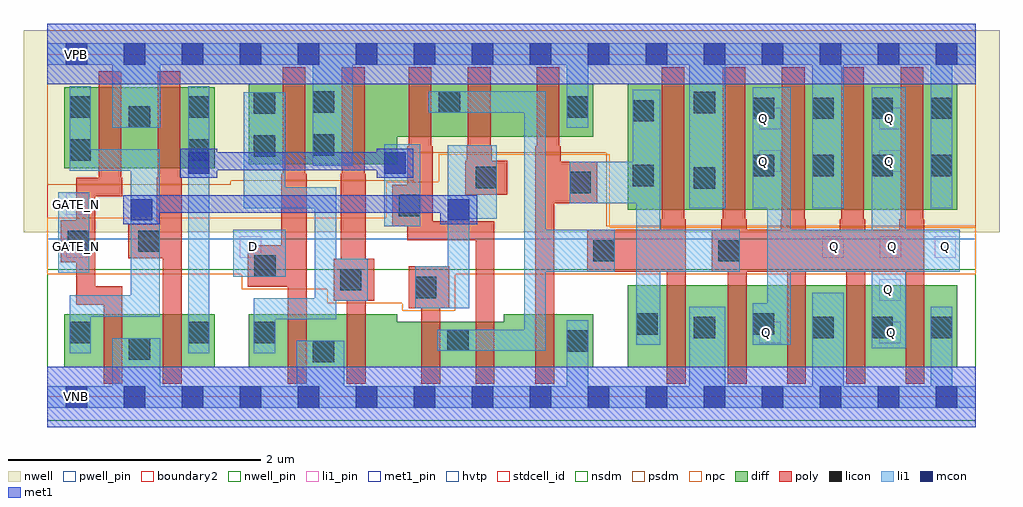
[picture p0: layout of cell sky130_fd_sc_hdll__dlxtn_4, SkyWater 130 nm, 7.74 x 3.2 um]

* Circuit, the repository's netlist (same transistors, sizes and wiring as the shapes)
* Copyright 2020 The SkyWater PDK Authors
*
* Licensed under the Apache License, Version 2.0 (the "License");
* you may not use this file except in compliance with the License.
* You may obtain a copy of the License at
*
*     https://www.apache.org/licenses/LICENSE-2.0
*
* Unless required by applicable law or agreed to in writing, software
* distributed under the License is distributed on an "AS IS" BASIS,
* WITHOUT WARRANTIES OR CONDITIONS OF ANY KIND, either express or implied.
* See the License for the specific language governing permissions and
* limitations under the License.
*
* SPDX-License-Identifier: Apache-2.0

.SUBCKT sky130_fd_sc_hdll__dlxtn_4 D GATE_N VGND VNB VPB VPWR Q
*.PININFO D:I GATE_N:I VGND:I VNB:I VPB:I VPWR:I Q:O
MI635 clkneg clkpos VPWR VPB sky130_fd_pr__pfet_01v8_hvt m=1 w=0.64U l=0.18U mult=1
+ sa=0.265 sb=0.265 sd=0.28 area=0.063 perim=1.14
MI17 M0 clkneg net51 VPB sky130_fd_pr__pfet_01v8_hvt m=1 w=0.42U l=0.18U mult=1
+ sa=0.265 sb=0.265 sd=0.28 area=0.063 perim=1.14
MI650 Q m1 VPWR VPB sky130_fd_pr__pfet_01v8_hvt m=4 w=1.0U l=0.18U mult=1 sa=0.265
+ sb=0.265 sd=0.28 area=0.063 perim=1.14
MI633 clkpos GATE_N VPWR VPB sky130_fd_pr__pfet_01v8_hvt m=1 w=0.64U l=0.18U mult=1
+ sa=0.265 sb=0.265 sd=0.28 area=0.063 perim=1.14
MI18 net51 db VPWR VPB sky130_fd_pr__pfet_01v8_hvt m=1 w=0.64U l=0.18U mult=1 sa=0.265
+ sb=0.265 sd=0.28 area=0.063 perim=1.14
MI653 net47 m1 VPWR VPB sky130_fd_pr__pfet_01v8_hvt m=1 w=0.42U l=0.18U mult=1
+ sa=0.265 sb=0.265 sd=0.28 area=0.063 perim=1.14
MI651 M0 clkpos net47 VPB sky130_fd_pr__pfet_01v8_hvt m=1 w=0.42U l=0.18U mult=1
+ sa=0.265 sb=0.265 sd=0.28 area=0.063 perim=1.14
MI655 m1 M0 VPWR VPB sky130_fd_pr__pfet_01v8_hvt m=1 w=1.0U l=0.18U mult=1 sa=0.265
+ sb=0.265 sd=0.28 area=0.063 perim=1.14
MI638 db D VPWR VPB sky130_fd_pr__pfet_01v8_hvt m=1 w=0.64U l=0.18U mult=1 sa=0.265
+ sb=0.265 sd=0.28 area=0.063 perim=1.14
MI634 clkpos GATE_N VGND VNB sky130_fd_pr__nfet_01v8 m=1 w=0.42U l=0.15U mult=1
+ sa=0.265 sb=0.265 sd=0.28 area=0.063 perim=1.14
MI649 Q m1 VGND VNB sky130_fd_pr__nfet_01v8 m=4 w=0.65U l=0.15U mult=1 sa=0.265
+ sb=0.265 sd=0.28 area=0.063 perim=1.14
MI652 M0 clkneg net94 VNB sky130_fd_pr__nfet_01v8 m=1 w=0.36U l=0.15U mult=1 sa=0.265
+ sb=0.265 sd=0.28 area=0.063 perim=1.14
MI654 net94 m1 VGND VNB sky130_fd_pr__nfet_01v8 m=1 w=0.42U l=0.15U mult=1 sa=0.265
+ sb=0.265 sd=0.28 area=0.063 perim=1.14
MI656 m1 M0 VGND VNB sky130_fd_pr__nfet_01v8 m=1 w=0.65U l=0.15U mult=1 sa=0.265
+ sb=0.265 sd=0.28 area=0.063 perim=1.14
MI636 clkneg clkpos VGND VNB sky130_fd_pr__nfet_01v8 m=1 w=0.42U l=0.15U mult=1
+ sa=0.265 sb=0.265 sd=0.28 area=0.063 perim=1.14
MI637 db D VGND VNB sky130_fd_pr__nfet_01v8 m=1 w=0.42U l=0.15U mult=1 sa=0.265
+ sb=0.265 sd=0.28 area=0.063 perim=1.14
MI19 M0 clkpos net74 VNB sky130_fd_pr__nfet_01v8 m=1 w=0.36U l=0.15U mult=1 sa=0.265
+ sb=0.265 sd=0.28 area=0.063 perim=1.14
MI20 net74 db VGND VNB sky130_fd_pr__nfet_01v8 m=1 w=0.42U l=0.15U mult=1 sa=0.265
+ sb=0.265 sd=0.28 area=0.063 perim=1.14
.ENDS sky130_fd_sc_hdll__dlxtn_4

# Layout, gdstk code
import gdstk
lib = gdstk.Library(unit=1e-6, precision=1e-09)
def R(c, l, rs):  # rectangles x0, y0, x1, y1
    for r in rs: c.add(gdstk.rectangle(r[:2], r[2:], *l))
def A(c, l, x, y, w, h, nx, ny, dx, dy):  # array of equal rectangles
    R(c, l, [(x+i*dx, y+j*dy, x+i*dx+w, y+j*dy+h) for i in range(nx) for j in range(ny)])
def P(c, l, *ps):  # polygons
    for p in ps: c.add(gdstk.Polygon(p, *l))
nwell_pin = (64, 16)
nwell = (64, 20)
diff = (65, 20)
poly = (66, 20)
licon = (66, 44)
li1_pin = (67, 16)
li1 = (67, 20)
mcon = (67, 44)
met1_pin = (68, 16)
met1 = (68, 20)
hvtp = (78, 44)
stdcell_id = (81, 4)
nsdm = (93, 44)
psdm = (94, 20)
npc = (95, 20)
pwell_pin = (122, 16)
boundary2 = (236, 0)

sky130_fd_sc_hdll__dlxtn = lib.new_cell('sky130_fd_sc_hdll__dlxtn_4')
R(sky130_fd_sc_hdll__dlxtn, nwell_pin, [(0.145,2.635,0.315,2.805)])
R(sky130_fd_sc_hdll__dlxtn, nwell, [(-0.19,1.305,7.55,2.91)])
R(sky130_fd_sc_hdll__dlxtn, diff, [(0.135,0.235,1.325,0.655), (4.6,0.235,7.215,0.885), (4.6,1.485,7.215,2.485), (0.135,1.815,1.325,2.455)])
P(sky130_fd_sc_hdll__dlxtn, diff, [(4.33,0.655),(3.62,0.655),(3.62,0.595),(2.775,0.595),(2.775,0.655),(1.595,0.655),(1.595,0.235),(4.33,0.235)],
  [(4.33,2.485),(1.595,2.485),(1.595,1.845),(2.775,1.845),(2.775,2.065),(4.33,2.065)])
P(sky130_fd_sc_hdll__dlxtn, poly, [(0.595,1.74),(0.585,1.74),(0.585,2.585),(0.405,2.585),(0.405,1.74),(0.23,1.74),(0.23,1.4),(0.105,1.4),(0.105,1.07),(0.23,1.07),(0.23,0.73),(0.445,0.73),(0.445,0.105),(0.595,0.105),(0.595,0.88),(0.38,0.88),(0.38,1.59),(0.595,1.59)],
  [(1.065,1.74),(1.055,1.74),(1.055,2.585),(0.875,2.585),(0.875,1.74),(0.865,1.74),(0.865,1.37),(0.64,1.37),(0.64,1.1),(0.915,1.1),(0.915,0.105),(1.065,0.105)],
  [(2.055,1.77),(2.045,1.77),(2.045,2.615),(1.865,2.615),(1.865,1.77),(1.855,1.77),(1.855,1.205),(1.59,1.205),(1.59,0.875),(1.905,0.875),(1.905,0.105),(2.055,0.105)],
  [(2.59,1.095),(2.525,1.095),(2.525,1.77),(2.515,1.77),(2.515,2.615),(2.335,2.615),(2.335,1.77),(2.325,1.77),(2.325,1.095),(2.27,1.095),(2.27,0.765),(2.375,0.765),(2.375,0.105),(2.525,0.105),(2.525,0.765),(2.59,0.765)],
  [(3.185,1.035),(2.865,1.035),(2.865,0.705),(2.965,0.705),(2.965,0.105),(3.115,0.105),(3.115,0.705),(3.185,0.705)],
  [(3.545,1.395),(3.055,1.395),(3.055,1.99),(3.045,1.99),(3.045,2.615),(2.865,2.615),(2.865,1.99),(2.855,1.99),(2.855,1.685),(2.735,1.685),(2.735,1.355),(2.855,1.355),(2.855,1.245),(3.395,1.245),(3.395,0.105),(3.545,0.105)],
  [(3.645,1.875),(3.525,1.875),(3.525,1.99),(3.515,1.99),(3.515,2.615),(3.335,2.615),(3.335,1.99),(3.325,1.99),(3.325,1.875),(3.315,1.875),(3.315,1.605),(3.645,1.605)],
  [(4.36,1.865),(4.07,1.865),(4.07,1.99),(4.06,1.99),(4.06,2.615),(3.88,2.615),(3.88,1.99),(3.87,1.99),(3.87,0.105),(4.02,0.105),(4.02,1.535),(4.36,1.535)],
  [(5.06,1.41),(5.05,1.41),(5.05,2.615),(4.87,2.615),(4.87,1.41),(4.86,1.41),(4.86,1.325),(4.28,1.325),(4.28,0.995),(4.91,0.995),(4.91,0.105),(5.06,0.105)],
  [(6.955,1.41),(6.945,1.41),(6.945,2.615),(6.765,2.615),(6.765,1.41),(6.755,1.41),(6.755,1.325),(6.485,1.325),(6.485,1.41),(6.475,1.41),(6.475,2.615),(6.295,2.615),(6.295,1.41),(6.285,1.41),(6.285,1.325),(6.015,1.325),(6.015,1.41),(6.005,1.41),(6.005,2.615),(5.825,2.615),(5.825,1.41),(5.815,1.41),(5.815,1.325),(5.545,1.325),(5.545,1.41),(5.535,1.41),(5.535,2.615),(5.355,2.615),(5.355,1.41),(5.345,1.41),(5.345,1.325),(5.27,1.325),(5.27,0.995),(5.395,0.995),(5.395,0.105),(5.545,0.105),(5.545,0.995),(5.865,0.995),(5.865,0.105),(6.015,0.105),(6.015,0.995),(6.335,0.995),(6.335,0.105),(6.485,0.105),(6.485,0.995),(6.805,0.995),(6.805,0.105),(6.955,0.105)])
A(sky130_fd_sc_hdll__dlxtn, licon, 6.065, 0.465, 0.17, 0.17, 3, 1, 0.47, 0)
A(sky130_fd_sc_hdll__dlxtn, licon, 5.595, 1.75, 0.17, 0.17, 4, 2, 0.47, 0.455)
R(sky130_fd_sc_hdll__dlxtn, licon, [(2.105,0.275,2.275,0.445), (0.645,0.295,0.815,0.465), (4.12,0.36,4.29,0.53), (3.17,0.365,3.34,0.535), (0.175,0.425,0.345,0.595), (1.115,0.425,1.285,0.595), (1.635,0.425,1.805,0.595), (5.125,0.465,5.295,0.635), (4.67,0.495,4.84,0.665), (5.595,0.495,5.765,0.665), (2.915,0.785,3.085,0.955), (2.32,0.845,2.49,1.015), (1.64,0.955,1.81,1.125), (4.33,1.075,4.5,1.245), (5.32,1.075,5.49,1.245), (0.16,1.15,0.33,1.32), (0.72,1.15,0.89,1.32), (2.785,1.435,2.955,1.605), (4.14,1.615,4.31,1.785), (5.125,1.65,5.295,1.82), (3.395,1.655,3.565,1.825), (4.64,1.67,4.81,1.84), (0.175,1.875,0.345,2.045), (1.115,1.875,1.285,2.045), (1.635,1.905,1.805,2.075), (2.105,1.915,2.275,2.085), (0.645,2.135,0.815,2.305), (4.64,2.185,4.81,2.355), (0.175,2.215,0.345,2.385), (1.115,2.215,1.285,2.385), (4.12,2.215,4.29,2.385), (1.635,2.245,1.805,2.415), (5.125,2.25,5.295,2.42), (2.105,2.255,2.275,2.425), (3.105,2.255,3.275,2.425)])
R(sky130_fd_sc_hdll__dlxtn, li1_pin, [(5.645,0.425,5.815,0.595), (6.595,0.425,6.765,0.595), (6.595,0.765,6.765,0.935), (0.15,1.105,0.32,1.275), (1.525,1.105,1.695,1.275), (6.145,1.105,6.315,1.275), (6.6,1.105,6.77,1.275), (7.035,1.105,7.205,1.275), (0.15,1.445,0.32,1.615), (5.645,1.785,5.815,1.955), (6.595,1.785,6.765,1.955), (5.645,2.125,5.815,2.295), (6.595,2.125,6.765,2.295)])
R(sky130_fd_sc_hdll__dlxtn, li1, [(1.115,0.345,1.285,2.465), (1.475,0.955,1.89,1.325), (0.085,0.985,0.33,1.625), (2.67,1.355,2.955,2.005)])
P(sky130_fd_sc_hdll__dlxtn, li1, [(7.36,0.085),(7.175,0.085),(7.175,0.715),(7.005,0.715),(7.005,0.085),(6.315,0.085),(6.315,0.825),(6.065,0.825),(6.065,0.085),(5.375,0.085),(5.375,0.715),(5.09,0.715),(5.09,0.085),(4.29,0.085),(4.29,0.61),(4.12,0.61),(4.12,0.085),(2.355,0.085),(2.355,0.445),(1.975,0.445),(1.975,0.085),(0.895,0.085),(0.895,0.465),(0.515,0.465),(0.515,0.085),(0,0.085),(0,-0.085),(7.36,-0.085)],
  [(7.36,2.805),(0,2.805),(0,2.635),(0.515,2.635),(0.515,2.135),(0.895,2.135),(0.895,2.635),(2.105,2.635),(2.105,1.835),(2.42,1.835),(2.42,2.635),(4.12,2.635),(4.12,2.135),(4.29,2.135),(4.29,2.635),(5.09,2.635),(5.09,1.495),(5.375,1.495),(5.375,2.635),(6.065,2.635),(6.065,1.495),(6.315,1.495),(6.315,2.635),(7.005,2.635),(7.005,1.495),(7.175,1.495),(7.175,2.635),(7.36,2.635)],
  [(7.235,1.325),(6.805,1.325),(6.805,2.455),(6.535,2.455),(6.535,1.325),(5.895,1.325),(5.895,2.455),(5.595,2.455),(5.595,1.495),(5.71,1.495),(5.71,0.745),(5.595,0.745),(5.595,0.415),(5.895,0.415),(5.895,0.995),(6.535,0.995),(6.535,0.385),(6.805,0.385),(6.805,0.995),(7.235,0.995)],
  [(5.49,1.325),(4.86,1.325),(4.86,2.435),(4.64,2.435),(4.64,1.865),(4.14,1.865),(4.14,1.535),(4.67,1.535),(4.67,0.415),(4.86,0.415),(4.86,0.995),(5.49,0.995)],
  [(4.5,1.325),(3.95,1.325),(3.95,2.425),(3.025,2.425),(3.025,2.255),(3.78,2.255),(3.78,0.535),(3.09,0.535),(3.09,0.365),(3.95,0.365),(3.95,0.995),(4.5,0.995)],
  [(3.565,1.995),(3.175,1.995),(3.175,1.035),(2.915,1.035),(2.915,0.705),(3.345,0.705),(3.345,1.415),(3.565,1.415)],
  [(2.54,1.095),(2.29,1.095),(2.29,1.665),(1.885,1.665),(1.885,2.415),(1.555,2.415),(1.555,1.495),(2.12,1.495),(2.12,0.785),(1.635,0.785),(1.635,0.345),(1.805,0.345),(1.805,0.615),(2.29,0.615),(2.29,0.765),(2.54,0.765)],
  [(0.89,1.965),(0.345,1.965),(0.345,2.465),(0.175,2.465),(0.175,1.795),(0.66,1.795),(0.66,0.805),(0.175,0.805),(0.175,0.345),(0.345,0.345),(0.345,0.635),(0.89,0.635)])
A(sky130_fd_sc_hdll__dlxtn, mcon, 0.145, -0.085, 0.17, 0.17, 16, 2, 0.46, 2.72)
R(sky130_fd_sc_hdll__dlxtn, mcon, [(0.66,1.4,0.83,1.57), (3.175,1.4,3.345,1.57), (1.115,1.77,1.285,1.94), (2.67,1.77,2.84,1.94)])
R(sky130_fd_sc_hdll__dlxtn, met1_pin, [(0.145,-0.085,0.315,0.085), (0.145,2.635,0.315,2.805)])
R(sky130_fd_sc_hdll__dlxtn, met1, [(0,-0.24,7.36,0.24), (0,2.48,7.36,2.96)])
P(sky130_fd_sc_hdll__dlxtn, met1, [(3.41,1.6),(0.6,1.6),(0.6,1.37),(0.89,1.37),(0.89,1.46),(3.115,1.46),(3.115,1.37),(3.41,1.37)],
  [(2.9,1.97),(2.61,1.97),(2.61,1.94),(1.345,1.94),(1.345,1.97),(1.055,1.97),(1.055,1.74),(1.345,1.74),(1.345,1.8),(2.61,1.8),(2.61,1.74),(2.9,1.74)])
R(sky130_fd_sc_hdll__dlxtn, hvtp, [(0,1.25,7.36,2.72)])
R(sky130_fd_sc_hdll__dlxtn, stdcell_id, [(0,0,7.36,2.72)])
R(sky130_fd_sc_hdll__dlxtn, nsdm, [(0,-0.19,7.36,1.015)])
P(sky130_fd_sc_hdll__dlxtn, psdm, [(7.36,2.91),(0,2.91),(0,1.685),(1.455,1.685),(1.455,1.715),(2.905,1.715),(2.905,1.935),(4.43,1.935),(4.43,1.355),(7.36,1.355)])
P(sky130_fd_sc_hdll__dlxtn, npc, [(7.36,1.345),(4.46,1.345),(4.46,1.925),(3.105,1.925),(3.105,1.705),(2.685,1.705),(2.685,1.42),(0,1.42),(0,0.975),(1.54,0.975),(1.54,0.855),(2.22,0.855),(2.22,0.745),(2.815,0.745),(2.815,0.685),(3.235,0.685),(3.235,0.975),(7.36,0.975)])
R(sky130_fd_sc_hdll__dlxtn, pwell_pin, [(0.145,-0.085,0.315,0.085)])
R(sky130_fd_sc_hdll__dlxtn, boundary2, [(0,0,7.36,2.72)])
sky130_fd_sc_hdll__dlxtn.add(gdstk.Label('D', (1.635,1.19), layer=67, texttype=5))
sky130_fd_sc_hdll__dlxtn.add(gdstk.Label('GATE_N', (0.23,1.19), layer=67, texttype=5))
sky130_fd_sc_hdll__dlxtn.add(gdstk.Label('Q', (5.68,1.87), layer=67, texttype=5))
sky130_fd_sc_hdll__dlxtn.add(gdstk.Label('GATE_N', (0.23,1.53), layer=67, texttype=5))
sky130_fd_sc_hdll__dlxtn.add(gdstk.Label('Q', (5.68,2.21), layer=67, texttype=5))
sky130_fd_sc_hdll__dlxtn.add(gdstk.Label('Q', (5.705,0.51), layer=67, texttype=5))
sky130_fd_sc_hdll__dlxtn.add(gdstk.Label('Q', (7.125,1.19), layer=67, texttype=5))
sky130_fd_sc_hdll__dlxtn.add(gdstk.Label('Q', (6.245,1.19), layer=67, texttype=5))
sky130_fd_sc_hdll__dlxtn.add(gdstk.Label('Q', (6.705,1.19), layer=67, texttype=5))
sky130_fd_sc_hdll__dlxtn.add(gdstk.Label('Q', (6.675,1.87), layer=67, texttype=5))
sky130_fd_sc_hdll__dlxtn.add(gdstk.Label('Q', (6.675,2.21), layer=67, texttype=5))
sky130_fd_sc_hdll__dlxtn.add(gdstk.Label('Q', (6.67,0.85), layer=67, texttype=5))
sky130_fd_sc_hdll__dlxtn.add(gdstk.Label('Q', (6.695,0.51), layer=67, texttype=5))
sky130_fd_sc_hdll__dlxtn.add(gdstk.Label('VNB', (0.23,0), layer=64, texttype=59))
sky130_fd_sc_hdll__dlxtn.add(gdstk.Label('VPB', (0.23,2.72), layer=64, texttype=5))
sky130_fd_sc_hdll__dlxtn.add(gdstk.Label('VPWR', (0.235,2.72), layer=68, texttype=5))
sky130_fd_sc_hdll__dlxtn.add(gdstk.Label('VGND', (0.23,0), layer=68, texttype=5))
sky130_fd_sc_hdll__dlxtn.add(gdstk.Label('dlxtn_4', (0,0), layer=83, texttype=44))

lib.write_gds('sky130_fd_sc_hdll__dlxtn_4.gds')
